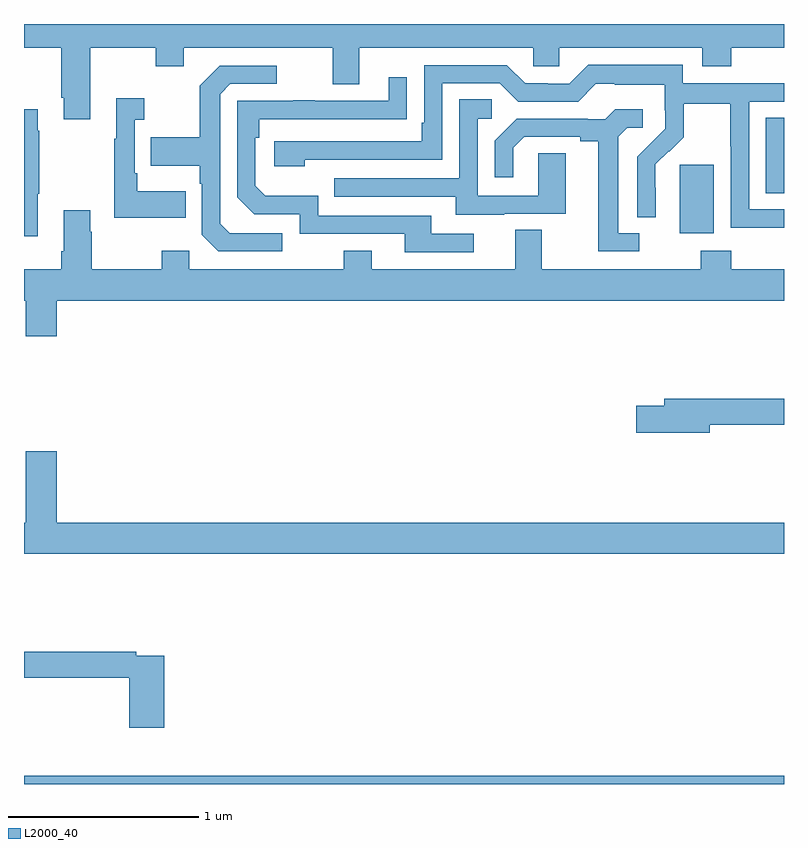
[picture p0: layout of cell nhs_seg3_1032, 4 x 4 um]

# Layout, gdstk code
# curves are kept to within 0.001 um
import gdstk
lib = gdstk.Library(unit=1e-6, precision=1e-09)
def R(c, l, rs):  # rectangles x0, y0, x1, y1
    for r in rs: c.add(gdstk.rectangle(r[:2], r[2:], *l))
def P(c, l, *ps):  # polygons
    for p in ps: c.add(gdstk.Polygon(p, *l))
L2000_40 = (2000, 40)

nhs_seg3_1032 = lib.new_cell('nhs_seg3_1032')
R(nhs_seg3_1032, L2000_40, [(165,670.4,169,670.444), (168.452,673.298,168.631,673.659), (168.905,673.51,169,673.907)])
P(nhs_seg3_1032, L2000_40, [(165.349,674.276),(165.694,674.276),(165.694,674.177),(165.841,674.177),(165.841,674.276),(166.625,674.276),(166.625,674.082),(166.765,674.082),(166.765,674.276),(167.679,674.276),(167.679,674.178),(167.817,674.178),(167.817,674.276),(168.569,674.276),(168.569,674.177),(168.722,674.177),(168.722,674.276),(169,674.276),(169,674.4),(165,674.4),(165,674.276),(165.197,674.276),(165.197,674.011),(165.209,674.011),(165.209,673.899),(165.349,673.899)],
  [(169,673.425),(168.816,673.425),(168.816,673.992),(169,673.992),(169,674.088),(168.468,674.088),(168.468,674.185),(167.971,674.185),(167.871,674.085),(167.756,674.085),(167.756,674.088),(167.637,674.088),(167.541,674.184),(167.106,674.184),(167.106,673.879),(167.093,673.879),(167.093,673.782),(166.317,673.782),(166.317,673.652),(166.478,673.652),(166.478,673.686),(167.202,673.686),(167.202,674.088),(167.505,674.088),(167.601,673.992),(167.916,673.992),(168.009,674.085),(168.109,674.085),(168.109,674.081),(168.372,674.081),(168.372,673.947),(168.374,673.947),(168.374,673.85),(168.228,673.702),(168.228,673.384),(168.324,673.384),(168.323,673.661),(168.393,673.731),(168.396,673.728),(168.473,673.805),(168.473,673.98),(168.718,673.98),(168.718,673.756),(168.72,673.756),(168.72,673.327),(169,673.327)],
  [(166.36,673.299),(166.083,673.299),(166.032,673.35),(166.032,674.031),(166.086,674.085),(166.33,674.085),(166.33,674.181),(166.029,674.181),(165.924,674.075),(165.924,673.803),(165.667,673.803),(165.667,673.655),(165.924,673.655),(165.924,673.559),(165.936,673.559),(165.936,673.29),(166.023,673.203),(166.36,673.203)],
  [(167.368,673.296),(167.143,673.296),(167.143,673.392),(166.548,673.392),(166.548,673.495),(166.271,673.495),(166.218,673.548),(166.218,673.802),(166.238,673.802),(166.238,673.899),(167.015,673.9),(167.015,674.119),(166.919,674.119),(166.919,673.995),(166.529,673.995),(166.529,674),(166.417,674),(166.417,673.995),(166.122,673.995),(166.122,673.488),(166.212,673.398),(166.452,673.398),(166.452,673.296),(167.003,673.296),(167.003,673.2),(167.368,673.2)],
  [(165.851,673.519),(165.595,673.519),(165.595,673.615),(165.582,673.615),(165.582,673.895),(165.634,673.895),(165.634,674.008),(165.485,674.008),(165.485,673.795),(165.474,673.795),(165.474,673.379),(165.851,673.379)],
  [(167.527,673.401),(167.851,673.401),(167.851,673.721),(167.706,673.721),(167.706,673.497),(167.388,673.497),(167.388,673.902),(167.461,673.902),(167.461,674.003),(167.292,674.003),(167.292,673.587),(166.633,673.587),(166.633,673.491),(167.273,673.491),(167.273,673.397),(167.527,673.397)],
  [(165.073,673.507),(165.081,673.507),(165.081,673.838),(165.073,673.838),(165.073,673.951),(165,673.951),(165,673.284),(165.073,673.284)],
  [(168.238,673.299),(168.127,673.299),(168.127,673.807),(168.174,673.854),(168.256,673.854),(168.256,673.951),(168.112,673.951),(168.06,673.899),(167.966,673.899),(167.966,673.902),(167.594,673.902),(167.478,673.786),(167.478,673.593),(167.575,673.593),(167.575,673.749),(167.632,673.806),(167.927,673.806),(167.927,673.784),(168.023,673.784),(168.023,673.203),(168.238,673.203)],
  [(165.172,672.944),(169,672.944),(169,673.108),(168.722,673.108),(168.722,673.207),(168.562,673.207),(168.562,673.108),(167.725,673.108),(167.725,673.316),(167.585,673.316),(167.585,673.108),(166.831,673.108),(166.831,673.207),(166.684,673.207),(166.684,673.108),(165.87,673.108),(165.87,673.207),(165.724,673.207),(165.724,673.108),(165.357,673.108),(165.357,673.307),(165.349,673.307),(165.349,673.42),(165.209,673.42),(165.209,673.204),(165.197,673.204),(165.197,673.108),(165,673.108),(165,672.944),(165.008,672.944),(165.008,672.756),(165.172,672.756)],
  [(168.61,672.292),(169,672.292),(169,672.428),(168.371,672.428),(168.371,672.392),(168.222,672.392),(168.222,672.25),(168.61,672.25)],
  [(169,671.776),(165.172,671.776),(165.172,672.151),(165.008,672.151),(165.008,671.776),(165,671.776),(165,671.612),(169,671.612)],
  [(165.737,671.076),(165.59,671.076),(165.59,671.096),(165,671.096),(165,670.96),(165.554,670.96),(165.554,670.695),(165.737,670.695)])

lib.write_gds('nhs_seg3_1032.gds')
